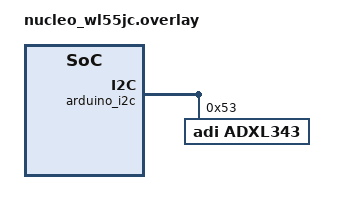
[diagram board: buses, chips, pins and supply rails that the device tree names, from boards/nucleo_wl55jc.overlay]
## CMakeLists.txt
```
cmake_minimum_required(VERSION 3.20.0)

# Default target board; override with `west build -b <board>`.
set(BOARD nucleo_wl55jc)

# The board defaults to STM32CubeProgrammer, which ST does not ship for
# ARM Linux hosts (e.g. Raspberry Pi). Use OpenOCD for `west flash`/`west debug`.
set(BOARD_FLASH_RUNNER openocd)
set(BOARD_DEBUG_RUNNER openocd)

# Hold the MCU in reset while OpenOCD connects when flashing. Firmware that
# enters Stop/Standby (stock ST demo, or this app with CONFIG_PM) disables
# SWD, so a plain connect fails with "unable to connect to the target".
# Applies to `west flash` only; `west debug`/`attach` keep the default.
# Must be defined before find_package(Zephyr), which invokes it once per
# board runner, hence the guard against adding the argument repeatedly.
macro(app_set_runner_args)
  get_property(_app_runner_args_set GLOBAL PROPERTY APP_RUNNER_ARGS_SET)
  if(NOT _app_runner_args_set)
    set_property(GLOBAL PROPERTY APP_RUNNER_ARGS_SET TRUE)
    board_runner_args(openocd
      "--cmd-pre-init-flash=reset_config srst_only srst_nogate connect_assert_srst")
  endif()
endmacro()

find_package(Zephyr REQUIRED HINTS $ENV{ZEPHYR_BASE})
project(app)

target_sources(app PRIVATE src/main.c src/power.c)
```

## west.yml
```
manifest:
  self:
    path: app

  remotes:
    - name: zephyrproject-rtos
      url-base: https://github.com/zephyrproject-rtos

  projects:
    - name: zephyr
      remote: zephyrproject-rtos
      revision: v4.5.0
      import:
        # Only pull the modules this board actually needs, instead of all ~80.
        # Add names here (e.g. mbedtls, littlefs) as the project grows.
        name-allowlist:
          - cmsis_6
          - hal_stm32
          - loramac-node
```

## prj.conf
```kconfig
CONFIG_GPIO=y
CONFIG_SENSOR=y
CONFIG_LOG=y

# Enter Stop0/1/2 when idle (chosen by expected idle time). The I2C and UART
# drivers block Stop while a transfer is in progress.
CONFIG_PM=y
```

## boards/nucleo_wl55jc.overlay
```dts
/ {
	aliases {
		accel0 = &adxl343;
	};
};

/*
 * Power: run SYSCLK straight from the 16 MHz HSI with the PLL off (board
 * default is HSI -> PLL at 48 MHz). Peripheral timings (I2C2, LPUART1) and
 * flash wait states are derived from the clock tree by Zephyr.
 */
&pll {
	status = "disabled";
};

&rcc {
	clocks = <&clk_hsi>;
	clock-frequency = <DT_FREQ_M(16)>;
};

/*
 * Power: limit idle to Stop0/Stop1. Measured on this board, Stop2 puts a
 * ~32 kHz signal on PA2 (LPUART1 TX, the ST-LINK console: decoded as a
 * stream of '6') and draws more than Stop1 (54 vs 19 uA median).
 */
&stop2 {
	status = "disabled";
};

/*
 * ADXL343 accelerometer on the Arduino-header I2C bus (I2C2, 400 kHz):
 * SDA = D14 (PA11), SCL = D15 (PA12). SDO/ALT ADDRESS low selects 0x53.
 */
&arduino_i2c {
	adxl343: adxl343@53 {
		compatible = "adi,adxl343";
		reg = <0x53>;
		range = <2>;
		odr = <100>;
	};
};
```

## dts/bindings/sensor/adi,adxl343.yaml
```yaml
description: |
  Analog Devices ADXL343 3-axis digital accelerometer on I2C.

  The driver uses full-resolution mode, so the scale is 3.9 mg/LSB at every
  range. I2C address is 0x53 with SDO/ALT ADDRESS low, 0x1D with it high.

  Example:

    &i2c2 {
        adxl343@53 {
            compatible = "adi,adxl343";
            reg = <0x53>;
            range = <2>;
            odr = <100>;
        };
    };

compatible: "adi,adxl343"

include: [sensor-device.yaml, i2c-device.yaml]

properties:
  range:
    type: int
    default: 2
    enum: [2, 4, 8, 16]
    description: Measurement range in g (+/-).

  odr:
    type: int
    default: 100
    enum: [25, 50, 100, 200, 400, 800, 1600, 3200]
    description: Output data rate in Hz.
```

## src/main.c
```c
#include <zephyr/kernel.h>
#include <zephyr/drivers/gpio.h>
#include <zephyr/drivers/sensor.h>
#include <zephyr/sys/printk.h>

#define SAMPLE_PERIOD_MS 100
#define FLASH_EVERY_N    10 /* one LED flash per second */
#define LED_FLASH_MS     10 /* LED2 draws ~4 mA while lit: keep it short */

/* led0 is the green user LED (LED2, PB9) on the Nucleo-WL55JC. */
static const struct gpio_dt_spec led = GPIO_DT_SPEC_GET(DT_ALIAS(led0), gpios);

/* ADXL343 on the Arduino I2C header, see boards/nucleo_wl55jc.overlay. */
static const struct device *const accel = DEVICE_DT_GET(DT_ALIAS(accel0));

/* m/s^2 from the sensor API -> integer milli-g */
static int32_t to_milli_g(const struct sensor_value *val)
{
	return (int32_t)((sensor_value_to_micro(val) * 1000) / SENSOR_G);
}

static void accel_print(void)
{
	static uint32_t sample;
	struct sensor_value xyz[3];
	int ret;

	ret = sensor_sample_fetch(accel);
	if (ret == 0) {
		ret = sensor_channel_get(accel, SENSOR_CHAN_ACCEL_XYZ, xyz);
	}

	if (ret < 0) {
		printk("accel read failed (%d)\n", ret);
		return;
	}

	printk("accel %u: x=%d y=%d z=%d mg\n", sample++, to_milli_g(&xyz[0]),
	       to_milli_g(&xyz[1]), to_milli_g(&xyz[2]));
}

int main(void)
{
	bool accel_ok;
	uint32_t count = 0;

	printk("Hello from Zephyr on %s\n", CONFIG_BOARD_TARGET);

	accel_ok = device_is_ready(accel);
	if (!accel_ok) {
		printk("ADXL343 not ready: check wiring and I2C address\n");
	}

	if (!gpio_is_ready_dt(&led) || (gpio_pin_configure_dt(&led, GPIO_OUTPUT_INACTIVE) < 0)) {
		printk("LED setup failed\n");
		return 0;
	}

	while (1) {
		if (accel_ok) {
			accel_print();
		}

		if ((count++ % FLASH_EVERY_N) == 0U) {
			(void)gpio_pin_set_dt(&led, 1);
			k_msleep(LED_FLASH_MS);
			(void)gpio_pin_set_dt(&led, 0);
			k_msleep(SAMPLE_PERIOD_MS - LED_FLASH_MS);
		} else {
			k_msleep(SAMPLE_PERIOD_MS);
		}
	}

	return 0;
}
```

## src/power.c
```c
/*
 * Run the STM32WL core regulator in voltage Range 2 (1.0 V instead of 1.2 V),
 * which lowers run and sleep current. Zephyr's clock driver leaves the WL in
 * Range 1. Range 2 allows at most 16 MHz and needs more flash wait states at
 * a given clock (16 MHz: 2 WS, versus 0 WS in Range 1), so the latency is
 * raised before the voltage is lowered.
 *
 * After Stop-mode wakeup Zephyr re-runs clock setup, whose flash latency
 * calculation follows the current range, so the setting persists.
 */

#include <zephyr/devicetree.h>
#include <zephyr/init.h>
#include <zephyr/sys/util.h>

#include <stm32_ll_pwr.h>
#include <stm32_ll_system.h>

BUILD_ASSERT(DT_PROP(DT_NODELABEL(rcc), clock_frequency) <= MHZ(16),
	     "Voltage Range 2 supports a system clock of at most 16 MHz");

static int power_range2_init(void)
{
	LL_FLASH_SetLatency(LL_FLASH_LATENCY_2);
	while (LL_FLASH_GetLatency() != LL_FLASH_LATENCY_2) {
	}

	LL_PWR_SetRegulVoltageScaling(LL_PWR_REGU_VOLTAGE_SCALE2);
	while (LL_PWR_IsActiveFlag_VOS() != 0U) {
	}

	return 0;
}

/* After clock control (PRE_KERNEL_1) has set the system clock. */
SYS_INIT(power_range2_init, PRE_KERNEL_2, 0);
```
